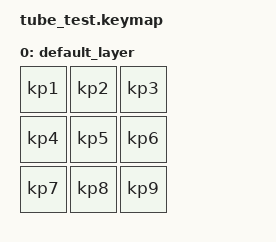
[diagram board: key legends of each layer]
#include <behaviors.dtsi>
#include <dt-bindings/zmk/keys.h>
// #include <dt-bindings/zmk/bt.h>

/ {
    keymap {
        compatible = "zmk,keymap";

        default_layer {
            bindings = <
    &kp KP_N1 &kp KP_N2 &kp KP_N3
    &kp KP_N4 &kp KP_N5 &kp KP_N6
    &kp KP_N7 &kp KP_N8 &kp KP_N9
            >;
        };
    };
};
